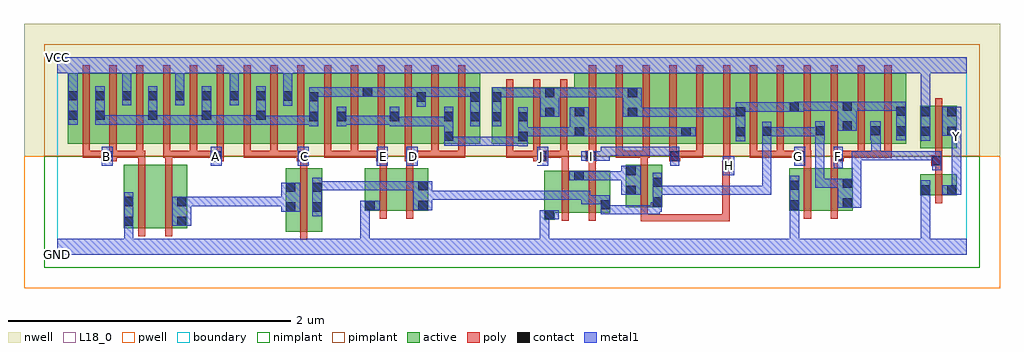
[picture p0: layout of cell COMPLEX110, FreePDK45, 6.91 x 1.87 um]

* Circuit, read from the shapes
.subckt COMPLEX110 A B C D E F G GND H I J VCC Y
M1 n1 B GND VSUBS nfet w=0.45u l=0.05u
M2 n2 A n1 VSUBS nfet w=0.45u l=0.05u
M3 n3 C n2 VSUBS nfet w=0.45u l=0.05u
M4 n4 E GND VSUBS nfet w=0.3u l=0.05u
M5 n3 D n4 VSUBS nfet w=0.3u l=0.05u
M6 n5 J GND VSUBS nfet w=0.3u l=0.05u
M7 n3 I n5 VSUBS nfet w=0.3u l=0.05u
M8 n3 H n5 VSUBS nfet w=0.3u l=0.05u
M9 n6 G GND VSUBS nfet w=0.3u l=0.05u
M10 n3 F n6 VSUBS nfet w=0.3u l=0.05u
M11 Y n3 GND VSUBS nfet w=0.15u l=0.05u
M12 n7 B VCC n8 pfet w=0.5u l=0.05u m=3
M13 VCC A n7 n8 pfet w=0.5u l=0.05u m=3
M14 n7 C VCC n8 pfet w=0.5u l=0.05u m=3
M15 n9 E n7 n8 pfet w=0.5u l=0.05u m=3
M16 n7 D n9 n8 pfet w=0.5u l=0.05u m=3
M17 n9 J n10 n8 pfet w=0.4u l=0.05u m=3
M18 n11 I n9 n8 pfet w=0.5u l=0.05u
M19 n10 H n11 n8 pfet w=0.5u l=0.05u
M20 n12 H n10 n8 pfet w=0.5u l=0.05u
M21 n9 I n12 n8 pfet w=0.5u l=0.05u
M22 n13 I n9 n8 pfet w=0.5u l=0.05u
M23 n10 H n13 n8 pfet w=0.5u l=0.05u
M24 n3 G n10 n8 pfet w=0.5u l=0.05u m=3
M25 n10 F n3 n8 pfet w=0.5u l=0.05u m=3
M26 Y n3 VCC n8 pfet w=0.3u l=0.05u
.ends

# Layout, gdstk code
import gdstk
lib = gdstk.Library(unit=1e-6, precision=1e-09)
def R(c, l, rs):  # rectangles x0, y0, x1, y1
    for r in rs: c.add(gdstk.rectangle(r[:2], r[2:], *l))
def A(c, l, x, y, w, h, nx, ny, dx, dy):  # array of equal rectangles
    R(c, l, [(x+i*dx, y+j*dy, x+i*dx+w, y+j*dy+h) for i in range(nx) for j in range(ny)])
active = (1, 0)
pwell = (2, 0)
nwell = (3, 0)
nimplant = (4, 0)
pimplant = (5, 0)
poly = (9, 0)
contact = (10, 0)
metal1 = (11, 0)
L18_0 = (18, 0)
boundary = (235, 0)

complex110 = lib.new_cell('COMPLEX110')
A(complex110, active, 1.02, 0.787, 0.27, 0.5, 3, 1, 0.76, 0)
R(complex110, active, [(1.617,0.162,1.877,0.612), (0.47,0.187,0.695,0.637), (0.695,0.187,0.92,0.637), (0.47,0.195,0.545,0.637), (0.845,0.195,0.92,0.637), (1.617,0.195,1.692,0.612), (1.802,0.195,1.877,0.612), (3.447,0.247,3.522,0.405), (3.447,0.297,3.732,0.597), (3.657,0.297,3.917,0.597), (3.842,0.297,3.917,0.497), (2.177,0.312,2.402,0.612), (2.177,0.312,2.252,0.415), (2.402,0.312,2.627,0.612), (2.552,0.312,2.627,0.612), (5.182,0.312,5.257,0.612), (5.182,0.312,5.407,0.612), (5.407,0.312,5.632,0.612), (5.557,0.312,5.632,0.612), (3.657,0.33,3.732,0.597), (4.025,0.337,4.285,0.637), (4.21,0.337,4.285,0.637), (4.025,0.345,4.1,0.637), (6.11,0.422,6.185,0.572), (6.11,0.422,6.37,0.572), (6.295,0.422,6.37,0.572), (6.11,0.755,6.185,1.055), (6.11,0.755,6.37,1.055), (6.295,0.755,6.37,1.055), (0.075,0.787,0.34,1.287), (0.075,0.787,0.15,1.287), (0.265,0.787,0.34,1.2), (0.265,0.787,0.53,1.287), (0.455,0.787,0.715,1.287), (0.455,0.787,0.53,1.255), (0.64,0.787,0.905,1.287), (0.83,0.787,1.095,1.287), (1.02,0.787,1.095,1.2), (1.215,0.787,1.48,1.287), (1.405,0.787,1.48,1.2), (1.405,0.787,1.67,1.287), (1.595,0.787,1.855,1.287), (1.78,0.787,1.855,1.2), (1.975,0.787,2.235,1.287), (1.975,0.787,2.05,1.07), (2.16,0.787,2.235,1.2), (2.16,0.787,2.425,1.287), (2.35,0.787,2.425,1.07), (2.35,0.787,2.615,1.287), (2.735,0.787,2.995,1.287), (2.735,0.787,2.81,1.07), (2.92,0.787,2.995,1.2), (3.075,0.787,3.335,1.187), (3.075,0.787,3.15,1.187), (3.26,0.787,3.335,1.07), (3.26,0.787,3.525,1.187), (3.45,0.787,3.735,1.187), (3.66,0.787,3.735,1.07), (3.66,0.787,3.885,1.287), (3.885,0.787,4.11,1.287), (4.035,0.787,4.11,1.2), (4.035,0.787,4.265,1.287), (4.265,0.787,4.49,1.287), (4.415,0.787,4.49,1.07), (4.415,0.787,4.645,1.287), (4.645,0.787,4.875,1.287), (4.8,0.787,4.875,1.2), (4.8,0.787,5.06,1.287), (4.985,0.787,5.06,1.07), (4.985,0.787,5.255,1.287), (5.18,0.787,5.44,1.287), (5.365,0.787,5.44,1.07), (5.365,0.787,5.632,1.287), (5.557,0.787,5.632,1.2), (5.557,0.787,5.827,1.287), (5.752,0.787,6.012,1.287), (5.752,0.787,5.827,1.07), (5.937,0.787,6.012,1.2), (1.215,0.797,1.29,1.287), (2.54,0.797,2.615,1.2), (0.64,0.807,0.715,1.2), (0.83,0.807,0.905,1.255), (1.595,0.807,1.67,1.287), (5.18,0.807,5.255,1.2), (3.45,0.907,3.525,1.187)])
R(complex110, pwell, [(-0.235,-0.235,6.675,0.7)])
R(complex110, nwell, [(-0.235,0.7,6.675,1.635)])
R(complex110, nimplant, [(-0.09,-0.09,6.53,0.7)])
R(complex110, pimplant, [(-0.09,0.7,6.53,1.49)])
A(complex110, poly, 0.18, 0.687, 0.05, 0.095, 15, 1, 0.19, 0)
A(complex110, poly, 3.18, 0.687, 0.05, 0.095, 3, 1, 0.19, 0)
A(complex110, poly, 3.765, 0.687, 0.05, 0.095, 5, 1, 0.19, 0)
A(complex110, poly, 4.905, 0.687, 0.05, 0.095, 3, 1, 0.19, 0)
A(complex110, poly, 5.477, 0.687, 0.05, 0.095, 3, 1, 0.19, 0)
A(complex110, poly, 0.18, 0.732, 0.05, 0.61, 15, 1, 0.19, 0)
A(complex110, poly, 3.18, 0.732, 0.05, 0.51, 3, 1, 0.19, 0)
A(complex110, poly, 3.765, 0.732, 0.05, 0.61, 9, 1, 0.19, 0)
A(complex110, poly, 5.477, 0.732, 0.05, 0.61, 3, 1, 0.19, 0)
R(complex110, poly, [(1.722,0.107,1.772,0.667), (0.575,0.132,0.625,0.692), (0.765,0.132,0.815,0.692), (4.13,0.237,4.18,0.332), (4.13,0.237,4.18,0.287), (4.13,0.237,4.18,0.287), (4.13,0.237,4.18,0.287), (4.13,0.237,4.442,0.287), (4.392,0.237,4.442,0.287), (4.392,0.237,4.575,0.287), (4.525,0.237,4.575,0.287), (4.525,0.237,4.575,0.287), (4.525,0.237,4.575,0.287), (4.525,0.237,4.575,0.287), (4.525,0.237,4.575,0.287), (4.525,0.237,4.76,0.287), (4.71,0.237,4.76,0.287), (4.71,0.237,4.76,0.287), (4.71,0.237,4.76,0.287), (4.71,0.237,4.76,0.642), (3.572,0.242,3.622,0.652), (3.762,0.242,3.812,0.652), (2.282,0.257,2.332,0.667), (2.472,0.257,2.522,0.667), (5.287,0.257,5.337,0.667), (5.477,0.257,5.527,0.667), (4.13,0.282,4.18,0.692), (6.215,0.367,6.265,0.627), (6.215,0.577,6.265,0.68), (4.71,0.592,4.785,0.667), (4.71,0.592,4.76,0.642), (4.71,0.592,4.76,0.642), (4.71,0.592,4.76,0.642), (4.71,0.592,4.76,0.642), (3.572,0.602,3.622,0.737), (3.762,0.602,3.812,0.712), (1.722,0.617,1.772,0.712), (2.282,0.617,2.332,0.712), (2.472,0.617,2.522,0.712), (4.715,0.617,4.765,0.782), (5.287,0.617,5.337,0.712), (5.477,0.617,5.527,0.712), (6.19,0.63,6.265,0.705), (0.575,0.642,0.625,0.737), (0.765,0.642,0.815,0.737), (4.13,0.642,4.18,0.737), (6.215,0.655,6.265,0.75), (0.325,0.662,0.42,0.737), (1.095,0.662,1.18,0.737), (1.697,0.662,1.772,0.737), (2.26,0.662,2.335,0.737), (2.46,0.662,2.542,0.737), (3.37,0.662,3.467,0.737), (3.742,0.662,3.817,0.737), (4.335,0.662,4.41,0.737), (5.227,0.662,5.337,0.737), (5.477,0.662,5.567,0.737), (0.18,0.687,0.23,0.737), (0.18,0.687,0.23,0.737), (0.18,0.687,0.23,0.737), (0.18,0.687,0.375,0.737), (0.37,0.687,0.42,0.737), (0.37,0.687,0.42,0.737), (0.37,0.687,0.61,0.737), (0.56,0.687,0.625,0.737), (0.75,0.687,0.815,0.737), (0.765,0.687,0.815,0.737), (0.765,0.687,0.815,0.737), (0.765,0.687,0.99,0.737), (0.94,0.687,0.99,0.737), (0.94,0.687,0.99,0.737), (0.94,0.687,0.99,0.737), (0.94,0.687,1.145,0.737), (1.32,0.687,1.37,0.737), (1.32,0.687,1.37,0.737), (1.32,0.687,1.37,0.737), (1.32,0.687,1.56,0.737), (1.51,0.687,1.56,0.737), (1.51,0.687,1.747,0.737), (1.697,0.687,1.747,0.737), (1.697,0.687,1.747,0.737), (1.89,0.687,1.94,0.737), (1.89,0.687,1.94,0.737), (1.89,0.687,1.94,0.737), (1.89,0.687,2.13,0.737), (2.08,0.687,2.13,0.737), (2.08,0.687,2.13,0.737), (2.08,0.687,2.13,0.737), (2.08,0.687,2.31,0.737), (2.492,0.687,2.542,0.737), (2.492,0.687,2.542,0.737), (2.492,0.687,2.7,0.737), (2.65,0.687,2.7,0.737), (2.65,0.687,2.89,0.737), (2.84,0.687,2.89,0.737), (2.84,0.687,2.89,0.737), (2.84,0.687,2.89,0.737), (3.18,0.687,3.23,0.737), (3.18,0.687,3.23,0.737), (3.18,0.687,3.23,0.737), (3.18,0.687,3.42,0.737), (3.417,0.687,3.467,0.737), (3.417,0.687,3.467,0.737), (3.417,0.687,3.61,0.737), (3.56,0.687,3.622,0.737), (3.955,0.687,4.005,0.737), (3.955,0.687,4.005,0.737), (3.955,0.687,4.005,0.737), (3.955,0.687,4.18,0.737), (4.13,0.687,4.195,0.737), (4.36,0.687,4.41,0.737), (4.36,0.687,4.41,0.737), (4.36,0.687,4.575,0.737), (4.525,0.687,4.575,0.737), (4.905,0.687,4.955,0.737), (4.905,0.687,5.145,0.737), (5.095,0.687,5.145,0.737), (5.095,0.687,5.145,0.737), (5.095,0.687,5.145,0.737), (5.095,0.687,5.277,0.737), (5.227,0.687,5.277,0.737), (5.227,0.687,5.277,0.737), (5.517,0.687,5.717,0.737), (5.667,0.687,5.717,0.737), (5.667,0.687,5.717,0.737), (5.667,0.687,5.717,0.737), (5.667,0.687,5.907,0.737), (5.857,0.687,5.907,0.737), (5.857,0.687,5.907,0.737), (5.857,0.687,5.907,0.737), (6.215,0.7,6.265,1.11)])
A(complex110, contact, 0.08, 1.095, 0.065, 0.065, 3, 1, 0.19, 0)
A(complex110, contact, 0.645, 1.095, 0.065, 0.065, 3, 1, 0.19, 0)
R(complex110, contact, [(0.475,0.205,0.54,0.27), (0.85,0.205,0.915,0.27), (3.452,0.252,3.517,0.317), (1.622,0.307,1.687,0.372), (1.807,0.307,1.872,0.372), (2.182,0.317,2.247,0.382), (2.557,0.317,2.622,0.382), (5.187,0.32,5.252,0.385), (3.847,0.322,3.912,0.387), (5.562,0.335,5.627,0.4), (4.215,0.342,4.28,0.407), (0.475,0.345,0.54,0.41), (0.85,0.345,0.915,0.41), (4.03,0.425,4.095,0.49), (6.115,0.427,6.18,0.492), (6.3,0.427,6.365,0.492), (1.622,0.447,1.687,0.512), (1.807,0.447,1.872,0.512), (2.557,0.457,2.622,0.522), (5.187,0.46,5.252,0.525), (5.562,0.475,5.627,0.54), (4.215,0.482,4.28,0.547), (3.662,0.527,3.727,0.592), (4.03,0.565,4.095,0.63), (4.715,0.597,4.78,0.662), (6.195,0.635,6.26,0.7), (0.33,0.667,0.395,0.732), (1.1,0.667,1.165,0.732), (1.702,0.667,1.767,0.732), (2.265,0.667,2.33,0.732), (2.472,0.667,2.537,0.732), (3.397,0.667,3.462,0.732), (3.747,0.667,3.812,0.732), (4.34,0.667,4.405,0.732), (5.232,0.667,5.297,0.732), (5.497,0.667,5.562,0.732), (3.265,0.805,3.33,0.87), (2.74,0.807,2.805,0.872), (3.665,0.84,3.73,0.905), (4.42,0.84,4.485,0.905), (4.805,0.84,4.87,0.905), (4.99,0.842,5.055,0.907), (6.115,0.842,6.18,0.907), (6.3,0.842,6.365,0.907), (5.942,0.845,6.007,0.91), (5.37,0.847,5.435,0.912), (5.757,0.847,5.822,0.912), (5.562,0.88,5.627,0.945), (2.925,0.945,2.99,1.01), (3.08,0.945,3.145,1.01), (3.265,0.945,3.33,1.01), (1.785,0.947,1.85,1.012), (1.98,0.947,2.045,1.012), (2.355,0.947,2.42,1.012), (2.74,0.947,2.805,1.012), (0.08,0.955,0.145,1.02), (0.27,0.955,0.335,1.02), (0.645,0.955,0.71,1.02), (1.025,0.955,1.09,1.02), (1.41,0.955,1.475,1.02), (3.455,0.977,3.52,1.042), (4.04,0.977,4.105,1.042), (3.665,0.98,3.73,1.045), (4.805,0.98,4.87,1.045), (6.115,0.982,6.18,1.047), (6.3,0.982,6.365,1.047), (5.942,0.985,6.007,1.05), (5.185,1.015,5.25,1.08), (5.562,1.02,5.627,1.085), (2.545,1.085,2.61,1.15), (2.925,1.085,2.99,1.15), (3.08,1.085,3.145,1.15), (1.785,1.087,1.85,1.152), (1.6,1.092,1.665,1.157), (1.22,1.095,1.285,1.16), (1.41,1.095,1.475,1.16), (3.455,1.117,3.52,1.182), (4.04,1.117,4.105,1.182), (2.165,1.12,2.23,1.185)])
R(complex110, metal1, [(0,0,6.44,0.115), (0.475,0.05,0.54,0.235), (2.147,0.05,2.212,0.115), (2.147,0.05,2.212,0.115), (2.147,0.05,2.212,0.382), (3.417,0.05,3.482,0.115), (3.417,0.05,3.482,0.115), (3.417,0.05,3.482,0.115), (3.417,0.05,3.482,0.115), (3.417,0.05,3.482,0.317), (5.187,0.05,5.252,0.115), (5.187,0.05,5.252,0.115), (5.187,0.05,5.252,0.115), (5.187,0.05,5.252,0.115), (5.187,0.05,5.252,0.35), (6.115,0.05,6.18,0.115), (6.115,0.05,6.18,0.115), (6.115,0.05,6.18,0.115), (6.115,0.05,6.18,0.115), (6.115,0.05,6.18,0.457), (0.475,0.17,0.54,0.235), (0.475,0.17,0.54,0.235), (0.475,0.17,0.54,0.445), (0.815,0.205,0.95,0.41), (3.417,0.252,3.552,0.317), (1.807,0.272,1.872,0.547), (5.187,0.285,5.252,0.56), (3.847,0.287,3.912,0.422), (3.847,0.287,4.05,0.352), (3.985,0.287,4.05,0.352), (3.985,0.287,4.05,0.352), (3.985,0.287,4.05,0.352), (3.985,0.287,4.267,0.352), (4.202,0.287,4.267,0.372), (1.587,0.307,1.722,0.512), (4.202,0.307,4.28,0.372), (4.215,0.307,4.28,0.582), (2.147,0.317,2.212,0.382), (2.147,0.317,2.212,0.382), (2.147,0.317,2.282,0.382), (2.522,0.317,2.657,0.522), (5.527,0.335,5.692,0.54), (0.885,0.345,0.95,0.41), (0.885,0.345,0.95,0.41), (0.885,0.345,1.147,0.41), (1.082,0.345,1.147,0.41), (1.082,0.345,1.147,0.41), (1.082,0.345,1.147,0.41), (1.082,0.345,1.285,0.41), (1.22,0.345,1.285,0.41), (1.22,0.345,1.285,0.41), (1.22,0.345,1.285,0.41), (1.22,0.345,1.422,0.41), (1.357,0.345,1.422,0.41), (1.357,0.345,1.422,0.41), (1.357,0.345,1.422,0.41), (1.357,0.345,1.652,0.41), (3.71,0.357,3.775,0.422), (3.71,0.357,3.775,0.422), (3.71,0.357,3.912,0.422), (3.71,0.357,3.775,0.455), (2.592,0.39,2.657,0.455), (2.592,0.39,2.657,0.455), (2.592,0.39,2.805,0.455), (2.74,0.39,2.805,0.455), (2.74,0.39,2.805,0.455), (2.74,0.39,2.805,0.455), (2.74,0.39,2.942,0.455), (2.877,0.39,2.942,0.455), (2.877,0.39,3.192,0.455), (3.127,0.39,3.192,0.455), (3.127,0.39,3.192,0.455), (3.127,0.39,3.192,0.455), (3.127,0.39,3.345,0.455), (3.28,0.39,3.345,0.455), (3.28,0.39,3.345,0.455), (3.28,0.39,3.345,0.455), (3.28,0.39,3.555,0.455), (3.49,0.39,3.555,0.455), (3.49,0.39,3.555,0.455), (3.49,0.39,3.555,0.455), (3.49,0.39,3.775,0.455), (6.115,0.392,6.18,0.457), (6.115,0.392,6.18,0.457), (6.115,0.392,6.18,0.527), (3.995,0.425,4.13,0.63), (4.215,0.425,4.45,0.49), (4.385,0.425,4.45,0.49), (4.385,0.425,4.45,0.49), (4.385,0.425,4.45,0.49), (4.385,0.425,4.64,0.49), (4.575,0.425,4.64,0.49), (4.575,0.425,4.64,0.49), (4.575,0.425,4.64,0.49), (4.575,0.425,4.777,0.49), (4.712,0.425,4.777,0.49), (4.712,0.425,4.777,0.49), (4.712,0.425,4.777,0.49), (4.712,0.425,5.007,0.49), (4.942,0.425,5.007,0.49), (4.942,0.425,5.055,0.49), (4.99,0.425,5.055,0.49), (4.99,0.425,5.055,0.872), (6.265,0.427,6.4,0.492), (6.335,0.427,6.4,0.837), (1.807,0.457,1.872,0.522), (1.807,0.457,1.872,0.522), (1.807,0.457,2.045,0.522), (1.98,0.457,2.045,0.522), (1.98,0.457,2.045,0.522), (1.98,0.457,2.045,0.522), (1.98,0.457,2.182,0.522), (2.117,0.457,2.182,0.522), (2.117,0.457,2.182,0.522), (2.117,0.457,2.182,0.522), (2.117,0.457,2.42,0.522), (2.355,0.457,2.42,0.522), (2.355,0.457,2.42,0.522), (2.355,0.457,2.42,0.522), (2.355,0.457,2.587,0.522), (5.367,0.475,5.432,0.54), (5.367,0.475,5.432,0.54), (5.367,0.475,5.432,0.54), (5.367,0.475,5.592,0.54), (5.367,0.475,5.432,0.877), (5.527,0.475,5.592,0.54), (5.527,0.475,5.592,0.54), (5.627,0.475,5.692,0.735), (3.627,0.527,3.762,0.592), (3.697,0.527,3.912,0.592), (3.847,0.527,3.912,0.592), (3.847,0.527,3.912,0.592), (3.847,0.527,3.912,0.592), (3.847,0.527,4.06,0.592), (3.995,0.527,4.06,0.592), (3.995,0.527,4.06,0.592), (4.712,0.562,4.792,0.697), (6.195,0.6,6.26,0.735), (5.497,0.612,5.562,0.767), (1.087,0.63,1.165,0.767), (0.315,0.632,0.395,0.767), (1.702,0.632,1.782,0.767), (2.262,0.632,2.342,0.767), (2.472,0.632,2.552,0.767), (3.397,0.632,3.477,0.767), (4.34,0.632,4.405,0.767), (5.217,0.632,5.297,0.767), (3.712,0.667,3.847,0.732), (3.782,0.667,3.912,0.732), (3.847,0.667,3.912,0.767), (5.627,0.67,5.692,0.735), (5.627,0.67,5.83,0.735), (5.765,0.67,5.83,0.735), (5.765,0.67,5.83,0.735), (5.765,0.67,5.83,0.735), (5.765,0.67,6.007,0.735), (5.765,0.67,5.83,0.877), (5.942,0.67,6.007,0.735), (5.942,0.67,6.007,0.735), (5.942,0.67,6.007,0.735), (5.942,0.67,6.192,0.735), (6.127,0.67,6.192,0.735), (6.127,0.67,6.26,0.735), (3.847,0.702,4.05,0.767), (3.985,0.702,4.05,0.767), (3.985,0.702,4.05,0.767), (3.985,0.702,4.05,0.767), (3.985,0.702,4.267,0.767), (4.202,0.702,4.267,0.767), (4.202,0.702,4.277,0.767), (4.212,0.702,4.277,0.767), (4.212,0.702,4.405,0.767), (3.265,0.77,3.33,1.045), (2.74,0.772,2.805,0.837), (2.74,0.772,2.805,0.837), (2.74,0.772,2.805,1.047), (2.74,0.772,2.942,0.837), (2.877,0.772,2.942,0.837), (2.877,0.772,3.09,0.837), (3.025,0.772,3.09,0.837), (3.025,0.772,3.09,0.837), (3.025,0.772,3.09,0.837), (3.025,0.772,3.33,0.837), (6.335,0.772,6.402,0.907), (4.805,0.805,4.87,1.08), (4.99,0.807,5.055,0.872), (4.99,0.807,5.055,0.872), (4.99,0.807,5.055,0.872), (4.99,0.807,5.055,0.872), (4.99,0.807,5.055,0.942), (6.115,0.807,6.18,1.082), (5.942,0.81,6.007,1.085), (5.367,0.812,5.435,0.947), (5.757,0.812,5.83,0.947), (3.265,0.84,3.33,0.905), (3.265,0.84,3.33,0.905), (3.265,0.84,3.555,0.905), (3.49,0.84,3.555,0.905), (3.49,0.84,3.555,0.905), (3.49,0.84,3.555,0.905), (3.49,0.84,3.695,0.905), (3.63,0.84,3.765,1.045), (3.7,0.84,3.765,0.905), (3.7,0.84,3.765,0.905), (3.7,0.84,3.912,0.905), (3.847,0.84,3.912,0.905), (3.847,0.84,4.13,0.905), (4.065,0.84,4.13,0.905), (4.065,0.84,4.13,0.905), (4.065,0.84,4.13,0.905), (4.065,0.84,4.267,0.905), (4.202,0.84,4.267,0.905), (4.202,0.84,4.277,0.905), (4.212,0.84,4.277,0.905), (4.212,0.84,4.45,0.905), (4.385,0.84,4.45,0.905), (4.385,0.84,4.45,0.905), (4.385,0.84,4.52,0.905), (4.99,0.84,5.145,0.905), (5.08,0.84,5.145,0.905), (5.08,0.84,5.295,0.905), (5.23,0.84,5.295,0.905), (5.23,0.84,5.295,0.905), (5.23,0.84,5.295,0.905), (5.23,0.84,5.432,0.905), (6.265,0.842,6.4,1.047), (6.335,0.842,6.4,0.907), (5.527,0.88,5.662,1.085), (2.925,0.91,2.99,1.185), (3.08,0.91,3.145,1.185), (1.785,0.912,1.85,1.187), (1.98,0.912,2.045,1.047), (2.355,0.912,2.42,0.977), (2.355,0.912,2.42,0.977), (2.355,0.912,2.42,1.047), (2.355,0.912,2.667,0.977), (2.602,0.912,2.667,0.977), (2.602,0.912,2.667,0.977), (2.602,0.912,2.667,0.977), (2.602,0.912,2.805,0.977), (0.08,0.92,0.145,1.195), (0.27,0.92,0.335,1.195), (0.645,0.92,0.71,1.195), (1.025,0.92,1.09,1.195), (1.41,0.92,1.475,0.985), (1.41,0.92,1.475,0.985), (1.41,0.92,1.475,1.195), (1.41,0.92,1.612,0.985), (1.547,0.92,1.612,0.985), (1.547,0.92,1.612,0.985), (1.547,0.92,1.612,0.985), (1.547,0.92,1.85,0.985), (1.98,0.92,2.045,0.985), (1.98,0.92,2.045,0.985), (1.98,0.92,2.282,0.985), (2.217,0.92,2.282,0.985), (2.217,0.92,2.282,0.985), (2.217,0.92,2.282,0.985), (2.217,0.92,2.42,0.985), (0.27,0.922,0.335,0.987), (0.27,0.922,0.335,0.987), (0.27,0.922,0.572,0.987), (0.507,0.922,0.572,0.987), (0.507,0.922,0.572,0.987), (0.507,0.922,0.572,0.987), (0.507,0.922,0.71,0.987), (0.645,0.922,0.71,0.987), (0.645,0.922,0.71,0.987), (0.645,0.922,0.952,0.987), (0.887,0.922,0.952,0.987), (0.887,0.922,0.952,0.987), (0.887,0.922,0.952,0.987), (0.887,0.922,1.09,0.987), (1.025,0.922,1.09,0.987), (1.025,0.922,1.09,0.987), (1.025,0.922,1.285,0.987), (1.22,0.922,1.285,0.987), (1.22,0.922,1.285,0.987), (1.22,0.922,1.285,0.987), (1.22,0.922,1.475,0.987), (3.42,0.977,3.555,1.182), (4.005,0.977,4.14,1.182), (4.075,0.977,4.267,1.042), (4.202,0.977,4.267,1.042), (4.202,0.977,4.28,1.042), (4.215,0.977,4.28,1.042), (4.215,0.977,4.45,1.042), (4.385,0.977,4.45,1.042), (4.385,0.977,4.45,1.042), (4.385,0.977,4.45,1.042), (4.385,0.977,4.587,1.042), (4.522,0.977,4.587,1.042), (4.522,0.977,4.587,1.042), (4.522,0.977,4.587,1.042), (4.522,0.977,4.87,1.042), (4.805,0.977,4.87,1.042), (4.805,0.977,4.87,1.042), (4.805,1.015,5.007,1.08), (4.942,1.015,5.007,1.08), (4.942,1.015,5.007,1.08), (4.942,1.015,5.007,1.08), (4.942,1.015,5.145,1.08), (5.08,1.015,5.145,1.08), (5.08,1.015,5.215,1.08), (5.15,1.015,5.285,1.08), (5.22,1.015,5.285,1.08), (5.22,1.015,5.285,1.085), (6.115,1.017,6.18,1.082), (6.115,1.017,6.18,1.082), (6.115,1.017,6.18,1.35), (5.22,1.02,5.435,1.085), (5.37,1.02,5.435,1.085), (5.37,1.02,5.435,1.085), (5.37,1.02,5.435,1.085), (5.37,1.02,5.592,1.085), (5.597,1.02,5.87,1.085), (5.805,1.02,5.87,1.085), (5.805,1.02,5.87,1.085), (5.805,1.02,5.87,1.085), (5.805,1.02,6.007,1.085), (5.942,1.02,6.007,1.085), (5.942,1.02,6.007,1.085), (2.545,1.05,2.61,1.185), (1.6,1.057,1.665,1.192), (0.46,1.06,0.525,1.195), (0.835,1.06,0.9,1.195), (1.22,1.06,1.285,1.195), (3.08,1.117,3.145,1.182), (3.08,1.117,3.145,1.182), (3.08,1.117,3.345,1.182), (3.28,1.117,3.345,1.182), (3.28,1.117,3.345,1.182), (3.28,1.117,3.345,1.182), (3.28,1.117,3.485,1.182), (3.49,1.117,3.555,1.182), (3.49,1.117,3.555,1.182), (3.49,1.117,3.775,1.182), (3.71,1.117,3.775,1.182), (3.71,1.117,3.775,1.182), (3.71,1.117,3.775,1.182), (3.71,1.117,3.912,1.182), (3.847,1.117,3.912,1.182), (3.847,1.117,4.07,1.182), (4.005,1.117,4.07,1.182), (4.005,1.117,4.07,1.182), (1.785,1.12,1.85,1.185), (1.785,1.12,1.85,1.185), (1.785,1.12,2.045,1.185), (1.98,1.12,2.045,1.185), (1.98,1.12,2.045,1.185), (1.98,1.12,2.045,1.185), (1.98,1.12,2.195,1.185), (2.13,1.12,2.265,1.185), (2.2,1.12,2.265,1.185), (2.2,1.12,2.265,1.185), (2.2,1.12,2.45,1.185), (2.385,1.12,2.45,1.185), (2.385,1.12,2.45,1.185), (2.385,1.12,2.45,1.185), (2.385,1.12,2.61,1.185), (2.545,1.12,2.61,1.185), (2.545,1.12,2.61,1.185), (2.545,1.12,2.805,1.185), (2.74,1.12,2.805,1.185), (2.74,1.12,2.805,1.185), (2.74,1.12,2.805,1.185), (2.74,1.12,2.99,1.185), (1.6,1.127,1.665,1.35), (0.08,1.13,0.145,1.35), (0.46,1.13,0.525,1.35), (0.835,1.13,0.9,1.35), (1.22,1.13,1.285,1.35), (0,1.285,6.44,1.4)])
R(complex110, L18_0, [(0,0,6.44,0.115), (0.475,0.05,0.54,0.235), (2.147,0.05,2.212,0.115), (2.147,0.05,2.212,0.115), (2.147,0.05,2.212,0.382), (3.417,0.05,3.482,0.115), (3.417,0.05,3.482,0.115), (3.417,0.05,3.482,0.115), (3.417,0.05,3.482,0.115), (3.417,0.05,3.482,0.317), (5.187,0.05,5.252,0.115), (5.187,0.05,5.252,0.115), (5.187,0.05,5.252,0.115), (5.187,0.05,5.252,0.115), (5.187,0.05,5.252,0.35), (6.115,0.05,6.18,0.115), (6.115,0.05,6.18,0.115), (6.115,0.05,6.18,0.115), (6.115,0.05,6.18,0.115), (6.115,0.05,6.18,0.457), (0.475,0.17,0.54,0.445), (0.475,0.17,0.54,0.235), (0.475,0.17,0.54,0.235), (3.417,0.252,3.552,0.317), (5.187,0.285,5.252,0.56), (2.147,0.317,2.212,0.382), (2.147,0.317,2.212,0.382), (2.147,0.317,2.282,0.382), (6.115,0.392,6.18,0.457), (6.115,0.392,6.18,0.457), (6.115,0.392,6.18,0.527), (6.265,0.427,6.4,0.492), (6.335,0.427,6.4,0.837), (4.712,0.562,4.792,0.697), (4.727,0.597,4.792,0.662), (5.497,0.612,5.562,0.767), (1.087,0.63,1.165,0.767), (0.315,0.632,0.395,0.767), (1.702,0.632,1.782,0.767), (2.262,0.632,2.342,0.767), (2.472,0.632,2.552,0.767), (3.397,0.632,3.477,0.767), (4.34,0.632,4.405,0.767), (5.217,0.632,5.297,0.767), (0.317,0.667,0.382,0.732), (1.087,0.667,1.152,0.732), (1.717,0.667,1.782,0.732), (2.277,0.667,2.342,0.732), (2.487,0.667,2.552,0.732), (3.397,0.667,3.462,0.732), (3.712,0.667,3.847,0.732), (3.747,0.667,3.812,0.732), (3.782,0.667,3.912,0.732), (3.847,0.667,3.912,0.767), (5.217,0.667,5.282,0.732), (5.497,0.667,5.562,0.732), (3.847,0.702,4.05,0.767), (3.985,0.702,4.05,0.767), (3.985,0.702,4.05,0.767), (3.985,0.702,4.05,0.767), (3.985,0.702,4.267,0.767), (4.202,0.702,4.267,0.767), (4.202,0.702,4.277,0.767), (4.212,0.702,4.277,0.767), (4.212,0.702,4.405,0.767), (6.335,0.772,6.402,0.907), (6.115,0.807,6.18,1.082), (6.337,0.807,6.402,0.872), (6.265,0.842,6.4,1.047), (6.335,0.842,6.4,0.907), (0.08,0.92,0.145,1.195), (6.115,1.017,6.18,1.082), (6.115,1.017,6.18,1.082), (6.115,1.017,6.18,1.35), (1.6,1.057,1.665,1.192), (0.46,1.06,0.525,1.195), (0.835,1.06,0.9,1.195), (1.22,1.06,1.285,1.195), (1.6,1.127,1.665,1.35), (0.08,1.13,0.145,1.35), (0.46,1.13,0.525,1.35), (0.835,1.13,0.9,1.35), (1.22,1.13,1.285,1.35), (0,1.285,6.44,1.4)])
R(complex110, boundary, [(0,0,6.44,1.4)])
complex110.add(gdstk.Label('A', (1.12,0.7), layer=11, texttype=0))
complex110.add(gdstk.Label('B', (0.35,0.7), layer=11, texttype=0))
complex110.add(gdstk.Label('C', (1.75,0.7), layer=11, texttype=0))
complex110.add(gdstk.Label('D', (2.52,0.7), layer=11, texttype=0))
complex110.add(gdstk.Label('E', (2.31,0.7), layer=11, texttype=0))
complex110.add(gdstk.Label('F', (5.53,0.7), layer=11, texttype=0))
complex110.add(gdstk.Label('G', (5.25,0.7), layer=11, texttype=0))
complex110.add(gdstk.Label('H', (4.76,0.63), layer=11, texttype=0))
complex110.add(gdstk.Label('I', (3.78,0.7), layer=11, texttype=0))
complex110.add(gdstk.Label('J', (3.43,0.7), layer=11, texttype=0))
complex110.add(gdstk.Label('Y', (6.37,0.84), layer=11, texttype=0))
complex110.add(gdstk.Label('VCC', (0,1.4), layer=11, texttype=0))
complex110.add(gdstk.Label('GND', (0,0), layer=11, texttype=0))

lib.write_gds('COMPLEX110.gds')
